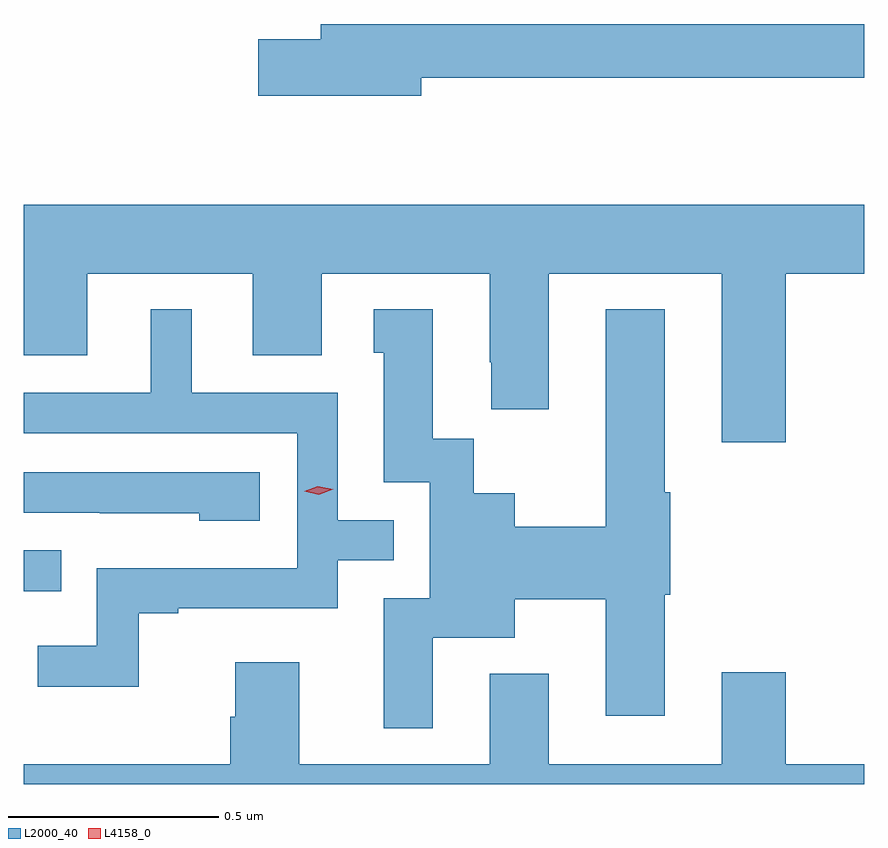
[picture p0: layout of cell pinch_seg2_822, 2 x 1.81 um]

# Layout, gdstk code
import gdstk
lib = gdstk.Library(unit=1e-6, precision=1e-09)
def R(c, l, rs):  # rectangles x0, y0, x1, y1
    for r in rs: c.add(gdstk.rectangle(r[:2], r[2:], *l))
def P(c, l, *ps):  # polygons
    for p in ps: c.add(gdstk.Polygon(p, *l))
L2000_40 = (2000, 40)
L4158_0 = (4158, 0)

pinch_seg2_822 = lib.new_cell('pinch_seg2_822')
R(pinch_seg2_822, L2000_40, [(636.528,601.592,636.617,601.689)])
P(pinch_seg2_822, L2000_40, [(637.474,602.814),(638.528,602.814),(638.528,602.942),(637.235,602.942),(637.235,602.906),(637.086,602.906),(637.086,602.771),(637.474,602.771)],
  [(638.342,602.348),(638.528,602.348),(638.528,602.512),(636.528,602.512),(636.528,602.154),(636.679,602.154),(636.679,602.348),(637.073,602.348),(637.073,602.154),(637.237,602.154),(637.237,602.348),(637.637,602.348),(637.637,602.137),(637.64,602.137),(637.64,602.025),(637.777,602.025),(637.777,602.348),(638.189,602.348),(638.189,601.947),(638.342,601.947)],
  [(636.801,601.539),(636.895,601.539),(636.895,601.551),(637.275,601.551),(637.275,601.665),(637.408,601.665),(637.408,601.761),(637.275,601.761),(637.275,602.064),(636.928,602.064),(636.928,602.263),(636.83,602.263),(636.83,602.064),(636.528,602.064),(636.528,601.968),(637.179,601.968),(637.179,601.647),(636.702,601.647),(636.702,601.462),(636.561,601.462),(636.561,601.364),(636.801,601.364)],
  [(637.501,601.481),(637.696,601.481),(637.696,601.573),(637.913,601.573),(637.913,601.296),(638.053,601.296),(638.053,601.584),(638.066,601.584),(638.066,601.828),(638.053,601.828),(638.053,602.263),(637.913,602.263),(637.913,601.745),(637.696,601.745),(637.696,601.825),(637.599,601.825),(637.599,601.955),(637.501,601.955),(637.501,602.263),(637.361,602.263),(637.361,602.16),(637.385,602.16),(637.385,601.851),(637.494,601.851),(637.494,601.575),(637.385,601.575),(637.385,601.266),(637.501,601.266)],
  [(637.09,601.875),(636.528,601.875),(636.528,601.779),(636.709,601.779),(636.709,601.778),(636.945,601.778),(636.945,601.76),(637.09,601.76)],
  [(638.528,601.18),(638.342,601.18),(638.342,601.399),(638.189,601.399),(638.189,601.18),(637.777,601.18),(637.777,601.396),(637.637,601.396),(637.637,601.18),(637.183,601.18),(637.183,601.423),(637.031,601.423),(637.031,601.293),(637.019,601.293),(637.019,601.18),(636.528,601.18),(636.528,601.133),(638.528,601.133)])
P(pinch_seg2_822, L4158_0, [(637.23,601.822),(637.195,601.83),(637.194,601.83),(637.195,601.83),(637.228,601.842),(637.264,601.835),(637.264,601.834),(637.264,601.834)])

lib.write_gds('pinch_seg2_822.gds')
